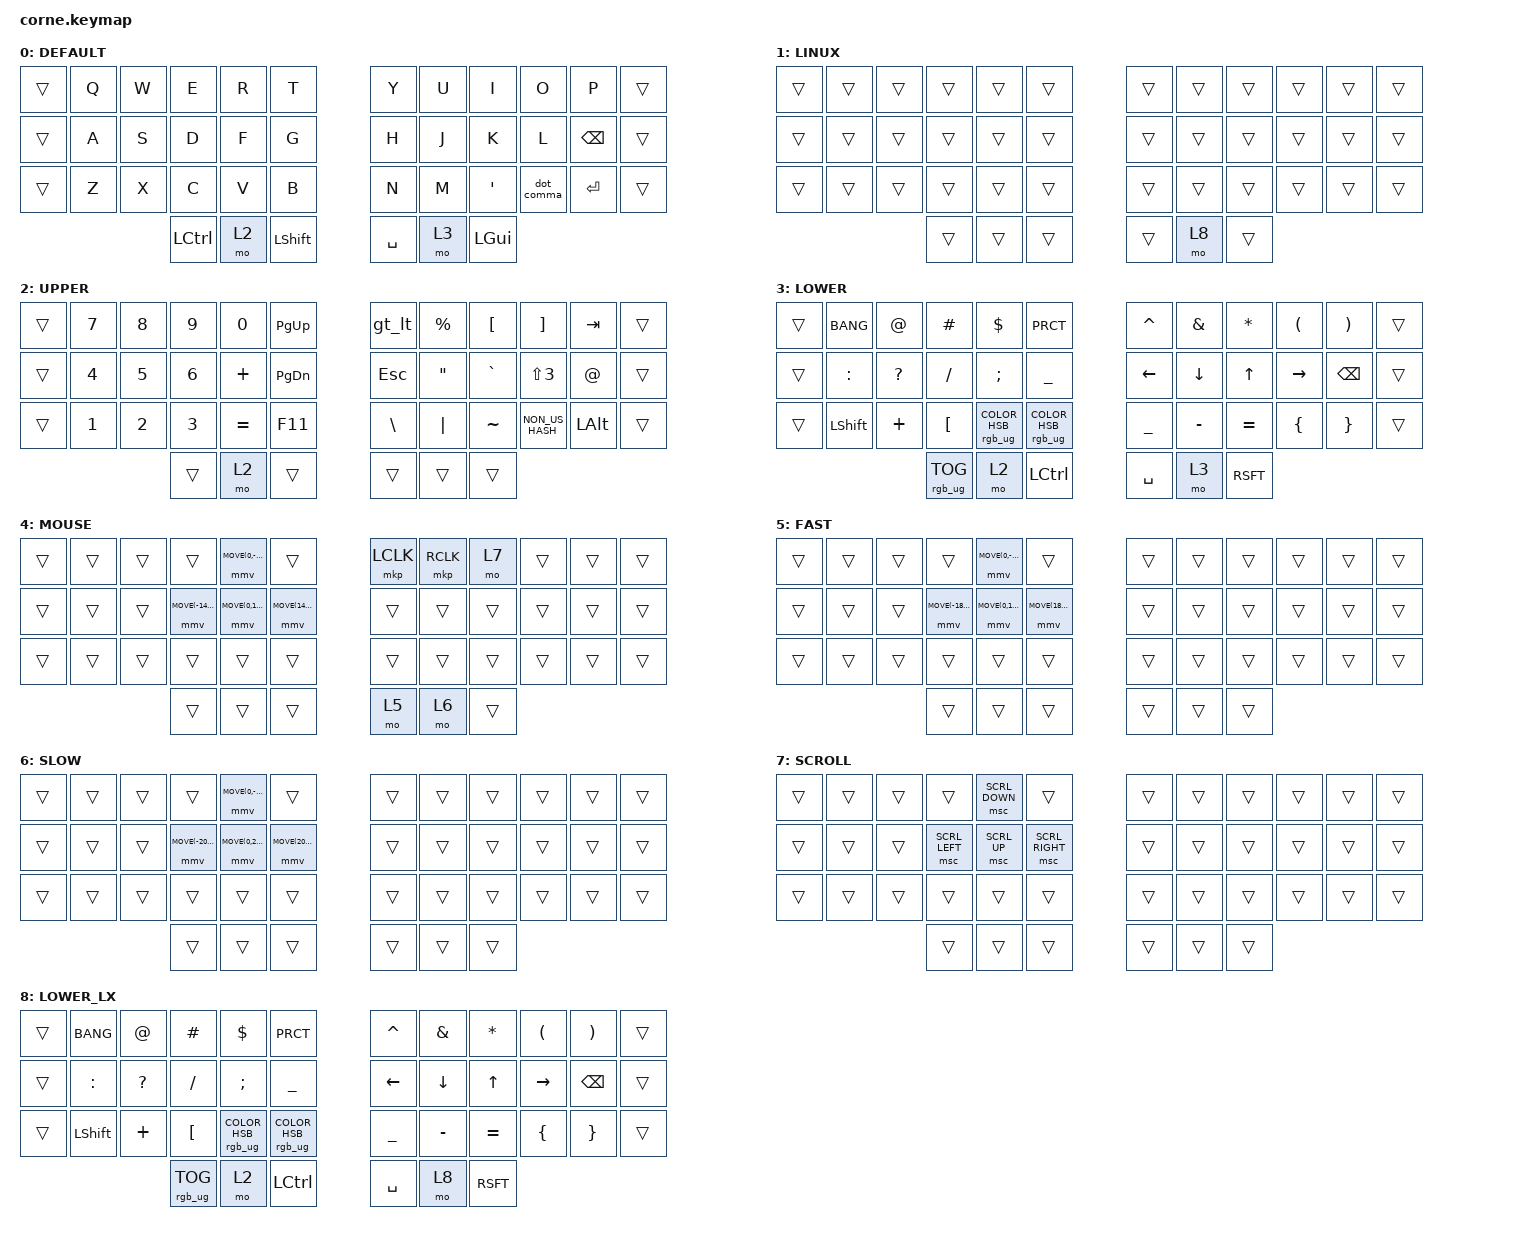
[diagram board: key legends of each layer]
#include <behaviors.dtsi>
#include <dt-bindings/zmk/bt.h>
#include <dt-bindings/zmk/keys.h>
#include <dt-bindings/zmk/rgb.h>
#include <dt-bindings/zmk/ext_power.h>
#include <dt-bindings/zmk/pointing.h>

/*
 * OS SWITCHING: BT profile 0 (QWE combo) and 1 (ASD) are Mac hosts; profile 2
 * (ZXC) is the Linux PC. The BtSel combos bind macros that select the profile
 * AND switch base layer in one press. Layer 1 (LINUX) is a near-transparent
 * marker base; ZMK combos match against the highest active layer, so combos
 * scoped to 0 are Mac-only and combos scoped to 1 are Linux-only. The Linux
 * lower layer (8) exists so lower-layer combos can be OS-scoped the same way.
 * The OS base layer also self-heals across power cycles: src/os_profile_layer.c
 * (central-only listener) derives it from the active BLE profile on every
 * profile change AND ~2s after boot, so switching off to charge while bonded
 * to the Linux box comes back in Linux mode automatically. The &to in the
 * BtSel macros below gives the same result instantly at press time.
 *
 * Layer index map:
 *   0 DEFAULT (Mac base)   1 LINUX (Linux base)   2 UPPER   3 LOWER (Mac)
 *   4 MOUSE   5 FAST   6 SLOW   7 SCROLL   8 LOWER_LX (Linux lower)
 */

/ {
    behaviors {
        dot_comma: dot_comma {
            compatible = "zmk,behavior-mod-morph";
            #binding-cells = <0>;
            bindings = <&kp DOT>, <&kp COMMA>;
            mods = <(MOD_LSFT|MOD_RSFT)>;
        };
        gt_lt: gt_lt {
            compatible = "zmk,behavior-mod-morph";
            #binding-cells = <0>;
            bindings = <&kp GT>, <&kp LT>;
            mods = <(MOD_LSFT|MOD_RSFT)>;
        };
    };

    macros {
        /* Mouse layer entry: set LED colour to green AND toggle layer 4 on.
         * Green is the visual indicator that mouse mode is active. */
        mouse_enter: mouse_enter {
            compatible = "zmk,behavior-macro";
            #binding-cells = <0>;
            bindings = <&rgb_ug RGB_COLOR_HSB(120,100,20)>, <&tog 4>;
        };
        /* Mouse layer exit: restore default white LED colour AND toggle
         * layer 4 off. Loses any custom colour you'd previously set
         * (e.g. blue preset) — re-press the colour preset key after exit
         * if you want that back. */
        mouse_exit: mouse_exit {
            compatible = "zmk,behavior-macro";
            #binding-cells = <0>;
            bindings = <&rgb_ug RGB_COLOR_HSB(0,0,20)>, <&tog 4>;
        };
        /* Host select = BT profile + matching OS base layer, one press.
         * &to enables the target base and disables all other layers except
         * the always-on default (0), so the two bases can never stack. */
        sel_mac0: sel_mac0 {
            compatible = "zmk,behavior-macro";
            #binding-cells = <0>;
            bindings = <&bt BT_SEL 0>, <&to 0>;
        };
        sel_mac1: sel_mac1 {
            compatible = "zmk,behavior-macro";
            #binding-cells = <0>;
            bindings = <&bt BT_SEL 1>, <&to 0>;
        };
        sel_lx2: sel_lx2 {
            compatible = "zmk,behavior-macro";
            #binding-cells = <0>;
            bindings = <&bt BT_SEL 2>, <&to 1>;
        };
    };

    combos {
        compatible = "zmk,combos";
        /* Bluetooth (LOWER layers, both OS modes). Each BtSel also switches
         * the OS base layer: QWE/ASD = Mac hosts, ZXC = Linux PC. */
        BtClr {
            bindings = <&bt BT_CLR>;
            key-positions = <1 2 3 4 5>;
            timeout-ms = <60>;
            layers = <3 8>;
        };
        BtSel0 {
            bindings = <&sel_mac0>;
            key-positions = <1 2 3>;
            timeout-ms = <60>;
            layers = <3 8>;
        };
        BtSel1 {
            bindings = <&sel_mac1>;
            key-positions = <13 14 15>;
            timeout-ms = <60>;
            layers = <3 8>;
        };
        BtSel2 {
            bindings = <&sel_lx2>;
            key-positions = <25 26 27>;
            timeout-ms = <60>;
            layers = <3 8>;
        };
        Bootloader {
            bindings = <&bootloader>;
            key-positions = <31 32 33 34>;
            timeout-ms = <60>;
            layers = <3 8>;
        };
        Copy {
            /* Y + U + I on right half top row → Cmd+C (copy), Mac lower only */
            bindings = <&kp LG(C)>;
            key-positions = <6 7 8>;
            timeout-ms = <60>;
            layers = <3>;
        };
        Paste {
            /* H + J + K on right half home row → Cmd+V (paste), Mac lower only */
            bindings = <&kp LG(V)>;
            key-positions = <18 19 20>;
            timeout-ms = <60>;
            layers = <3>;
        };
        CopyLx {
            /* Linux twin of Copy → Ctrl+C */
            bindings = <&kp LC(C)>;
            key-positions = <6 7 8>;
            timeout-ms = <60>;
            layers = <8>;
        };
        PasteLx {
            /* Linux twin of Paste → Ctrl+V */
            bindings = <&kp LC(V)>;
            key-positions = <18 19 20>;
            timeout-ms = <60>;
            layers = <8>;
        };
        VolUp {
            /* Outermost three keys on top row of right half: I, O, P.
             * Consumer codes — OS-agnostic, active on both bases. */
            bindings = <&kp C_VOL_UP>;
            key-positions = <8 9 10>;
            timeout-ms = <100>;
            layers = <0 1>;
        };
        VolDn {
            /* Outermost three keys on middle row of right half: K, L, BSPC */
            bindings = <&kp C_VOL_DN>;
            key-positions = <20 21 22>;
            timeout-ms = <100>;
            layers = <0 1>;
        };
        MissionControl {
            /* N + M + ' on right half bottom row → Ctrl+Up (macOS Mission Control) */
            bindings = <&kp LC(UP)>;
            key-positions = <30 31 32>;
            timeout-ms = <100>;
            layers = <0>;
        };
        MissionCtrlLx {
            /* Linux twin → Super tap = GNOME Activities overview; adjust for other DEs */
            bindings = <&kp LGUI>;
            key-positions = <30 31 32>;
            timeout-ms = <100>;
            layers = <1>;
        };
        Screenshot {
            /* Y + U + I on right half top row → Shift+Cmd+4 (macOS area screenshot) */
            bindings = <&kp LS(LG(N4))>;
            key-positions = <6 7 8>;
            timeout-ms = <100>;
            layers = <0>;
        };
        ScreenshotLx {
            /* Linux twin → PrintScreen = screenshot UI on GNOME/KDE */
            bindings = <&kp PSCRN>;
            key-positions = <6 7 8>;
            timeout-ms = <100>;
            layers = <1>;
        };
        MouseEnter {
            /* D + F + G on left half home row, when on either base →
             * enter mouse layer + change LED colour to green. */
            bindings = <&mouse_enter>;
            key-positions = <15 16 17>;
            timeout-ms = <100>;
            layers = <0 1>;
        };
        MouseExit {
            /* D + F + G on left half home row, when on layer 4 (MOUSE) →
             * exit mouse layer + restore default LED colour.
             * Note: D/F/G on the mouse layer are MOVE_LEFT/MOVE_DOWN/MOVE_RIGHT,
             * so pressing them all together within 100ms fires this combo
             * (exits the layer) rather than the three movement bindings. */
            bindings = <&mouse_exit>;
            key-positions = <15 16 17>;
            timeout-ms = <100>;
            layers = <4>;
        };
        /* Scroll combos on the base layers — scroll without entering the
         * mouse layer. The scroll layer (layer 7, reached via I on the
         * mouse layer) is still in place for horizontal scroll and as a
         * fallback for when you're already in mouse mode.
         * These repurpose two combos that became vestigial after the
         * Mouseless pivot: Q+W+E was Homerow click-hints (F13), A+S+D was
         * Homerow scroll (F16). Mouseless activates via LeftCmd-tap natively,
         * so the F-key combos had nothing listening for them.
         * NOTE on direction with macOS natural scrolling enabled: to scroll
         * UP (perceived), emit SCRL_DOWN (sends content upward); to scroll
         * DOWN (perceived), emit SCRL_UP. The combo names below describe
         * user-perceived direction; the binding emits the inverted keycode.
         * 3-key combos (like the other base-layer combos) so they don't
         * misfire mid-word. Left hand: right-hand triples are already taken. */
        ScrollUp {
            /* Q + W + E (top-left) → scroll UP (top row = up direction). */
            bindings = <&msc SCRL_DOWN>;
            key-positions = <1 2 3>;
            timeout-ms = <100>;
            layers = <0 1>;
        };
        ScrollDown {
            /* A + S + D (home-left) → scroll DOWN. */
            bindings = <&msc SCRL_UP>;
            key-positions = <13 14 15>;
            timeout-ms = <100>;
            layers = <0 1>;
        };
        /* Mouseless "toggle continuous mode" trigger. F17 = reserved private
         * namespace (no physical Mac F17, no default macOS binding) — emitted
         * only by this combo. Bind F17 in Mouseless's config editor to
         * "Toggle continuous mode until closed".
         * Usage: tap LeftCmd to open overlay, press Z+X+C to enter sticky
         * mode, click through things, Esc to dismiss (auto-disables sticky).
         * Z+X+C completes the left-hand row pattern: top=scroll up,
         * home=scroll down, bottom=sticky.
         * Mouseless is a Mac app — Mac base only. */
        MouselessSticky {
            /* Z + X + C (bottom-left) → F17 = Mouseless continuous-mode toggle */
            bindings = <&kp F17>;
            key-positions = <25 26 27>;
            timeout-ms = <100>;
            layers = <0>;
        };
        /* No EP_TOG combo. EXT_POWER powers both the displays and the LEDs
         * on this PCB, so the only sane state is "always on". Combined with
         * CONFIG_ZMK_RGB_UNDERGLOW_EXT_POWER=n in corne.conf, nothing in
         * the firmware can disable EXT_POWER any more — it can't get stuck
         * off and brick the keyboard. */
    };

    keymap {
        compatible = "zmk,keymap";
        default_layer {
            label = "DEFAULT";
            bindings = <
&trans  &kp Q  &kp W  &kp E       &kp R  &kp T       &kp Y      &kp U  &kp I     &kp O    &kp P          &trans
&trans  &kp A  &kp S  &kp D       &kp F  &kp G       &kp H      &kp J  &kp K     &kp L    &kp BACKSPACE  &trans
&trans  &kp Z  &kp X  &kp C       &kp V  &kp B       &kp N      &kp M  &kp APOS  &dot_comma  &kp ENTER      &trans
                       &kp LCTL    &mo 2  &kp LSHFT   &kp SPACE  &mo 3  &kp LGUI
            >;
        };
        linux_layer {
            /* Linux base marker. Everything falls through to DEFAULT except
             * the lower-layer thumb, which opens the Linux lower layer so
             * lower-layer combos resolve to their Linux variants. */
            label = "LINUX";
            bindings = <
&trans  &trans  &trans  &trans  &trans  &trans      &trans  &trans  &trans  &trans  &trans  &trans
&trans  &trans  &trans  &trans  &trans  &trans      &trans  &trans  &trans  &trans  &trans  &trans
&trans  &trans  &trans  &trans  &trans  &trans      &trans  &trans  &trans  &trans  &trans  &trans
                        &trans  &trans  &trans      &trans  &mo 8   &trans
            >;
        };
        upper_layer {
            label = "UPPER";
            bindings = <
&trans  &kp N7  &kp N8  &kp N9  &kp N0  &kp PG_UP    &gt_lt     &kp PRCNT     &kp LBKT         &kp RBKT         &kp TAB   &trans
&trans  &kp N4  &kp N5  &kp N6  &kp PLUS   &kp PG_DN    &kp ESC    &kp DQT    &kp GRAVE         &kp LS(NUMBER_3) &kp AT    &trans
&trans  &kp N1  &kp N2  &kp N3  &kp EQUAL  &kp F11      &kp BSLH   &kp PIPE   &kp TILDE         &kp NON_US_HASH  &kp LALT  &trans
                         &trans  &mo 2  &trans       &trans     &trans     &trans
            >;
        };
        lower_layer {
            label = "LOWER";
            bindings = <
&trans  &kp BANG   &kp AT    &kp HASH  &kp DLLR                        &kp PRCT    &kp CARET  &kp AMPS   &kp ASTRK  &kp LPAR  &kp RPAR   &trans
&trans  &kp COLN   &kp QMARK &kp FSLH  &kp SCLN                        &kp UNDER   &kp LEFT   &kp DOWN   &kp UP     &kp RIGHT &kp BSPC   &trans
&trans  &kp LSHFT  &kp PLUS  &kp LBKT  &rgb_ug RGB_COLOR_HSB(0,0,15)   &rgb_ug RGB_COLOR_HSB(170,100,15)    &kp UNDER  &kp MINUS  &kp EQUAL  &kp LBRC  &kp RBRC  &trans
                              &rgb_ug RGB_TOG  &mo 2  &kp LCTL    &kp SPACE  &mo 3      &kp RSFT
            >;
        };
        mouse_layer {
            /* Layer 4 — entered/exited via D+F+G combo (sticky toggle).
             * Movement: R(up), D(left), F(down), G(right). Combine two for diagonals.
             * Default velocity 1400 (set explicitly per-binding; the bare
             * MOVE_UP/etc. macros use ZMK's 600 default from pointing.h,
             * which is a #define and not Kconfig-overridable).
             * Clicks: Y = left click, U = right click.
             * Scroll modifier: hold I → layer 7 (R/D/F/G become scroll directions).
             * Speed modifiers: hold inner-right thumb → fast (layer 5),
             *                  hold middle-right thumb → slow (layer 6).
             * Everything else &trans so you can still type/modify mid-mouse. */
            label = "MOUSE";
            bindings = <
&trans  &trans  &trans  &trans  &mmv MOVE(0,-1400)    &trans          &mkp LCLK       &mkp RCLK       &mo 7           &trans          &trans          &trans
&trans  &trans  &trans  &mmv MOVE(-1400,0)  &mmv MOVE(0,1400)  &mmv MOVE(1400,0)  &trans          &trans          &trans          &trans          &trans          &trans
&trans  &trans  &trans  &trans  &trans          &trans          &trans          &trans          &trans          &trans          &trans          &trans
                        &trans  &trans  &trans          &mo 5   &mo 6   &trans
            >;
        };
        fast_layer {
            /* Layer 5 — held via inner-right thumb on mouse layer.
             * Overrides R/D/F/G with 3× movement speed (1800 vs default 600). */
            label = "FAST";
            bindings = <
&trans  &trans  &trans  &trans  &mmv MOVE(0,-1800)  &trans                  &trans  &trans  &trans  &trans  &trans  &trans
&trans  &trans  &trans  &mmv MOVE(-1800,0)  &mmv MOVE(0,1800)  &mmv MOVE(1800,0)  &trans  &trans  &trans  &trans  &trans  &trans
&trans  &trans  &trans  &trans  &trans  &trans                  &trans  &trans  &trans  &trans  &trans  &trans
                        &trans  &trans  &trans                  &trans  &trans  &trans
            >;
        };
        slow_layer {
            /* Layer 6 — held via middle-right thumb on mouse layer.
             * Overrides R/D/F/G with 1/3× movement speed (200 vs default 600). */
            label = "SLOW";
            bindings = <
&trans  &trans  &trans  &trans  &mmv MOVE(0,-200)  &trans                  &trans  &trans  &trans  &trans  &trans  &trans
&trans  &trans  &trans  &mmv MOVE(-200,0)  &mmv MOVE(0,200)  &mmv MOVE(200,0)  &trans  &trans  &trans  &trans  &trans  &trans
&trans  &trans  &trans  &trans  &trans  &trans                  &trans  &trans  &trans  &trans  &trans  &trans
                        &trans  &trans  &trans                  &trans  &trans  &trans
            >;
        };
        scroll_layer {
            /* Layer 7 — held via I on mouse layer.
             * Overrides R/D/F/G with scroll directions instead of movement.
             * Highest-numbered of the mouse modifier layers, so it wins if
             * combined with fast/slow (scroll always plays at normal speed).
             *
             * Up/down are inverted vs. movement because macOS "natural
             * scrolling" treats content motion as the primary direction:
             * R (up arrow) → SCRL_DOWN sends content upward (user perceives
             * as scrolling up); F (down arrow) → SCRL_UP sends content
             * downward (user perceives as scrolling down). */
            label = "SCROLL";
            bindings = <
&trans  &trans  &trans  &trans  &msc SCRL_DOWN  &trans          &trans          &trans          &trans          &trans          &trans          &trans
&trans  &trans  &trans  &msc SCRL_LEFT  &msc SCRL_UP    &msc SCRL_RIGHT  &trans          &trans          &trans          &trans          &trans          &trans
&trans  &trans  &trans  &trans  &trans          &trans          &trans          &trans          &trans          &trans          &trans          &trans
                        &trans  &trans  &trans          &trans  &trans  &trans
            >;
        };
        lower_lx_layer {
            /* Layer 8 — byte-for-byte clone of LOWER — exists only so the
             * lower-layer combos (BT, copy/paste) can tell the two OS modes
             * apart. Reached via the lower thumb while the LINUX base is on. */
            label = "LOWER_LX";
            bindings = <
&trans  &kp BANG   &kp AT    &kp HASH  &kp DLLR                        &kp PRCT    &kp CARET  &kp AMPS   &kp ASTRK  &kp LPAR  &kp RPAR   &trans
&trans  &kp COLN   &kp QMARK &kp FSLH  &kp SCLN                        &kp UNDER   &kp LEFT   &kp DOWN   &kp UP     &kp RIGHT &kp BSPC   &trans
&trans  &kp LSHFT  &kp PLUS  &kp LBKT  &rgb_ug RGB_COLOR_HSB(0,0,15)   &rgb_ug RGB_COLOR_HSB(170,100,15)    &kp UNDER  &kp MINUS  &kp EQUAL  &kp LBRC  &kp RBRC  &trans
                              &rgb_ug RGB_TOG  &mo 2  &kp LCTL    &kp SPACE  &mo 8      &kp RSFT
            >;
        };
    };
};

// LED chain-length override must live here (in the keymap, which is the last
// overlay applied) because ZMK's cmake processes user config overlays BEFORE
// the shield board overlay that defines the led_strip node.
&led_strip {
    chain-length = <24>; /* 18 per-key SK6812 MINI-E + 6 underglow — underglow is mid-chain so can't exclude */
};
